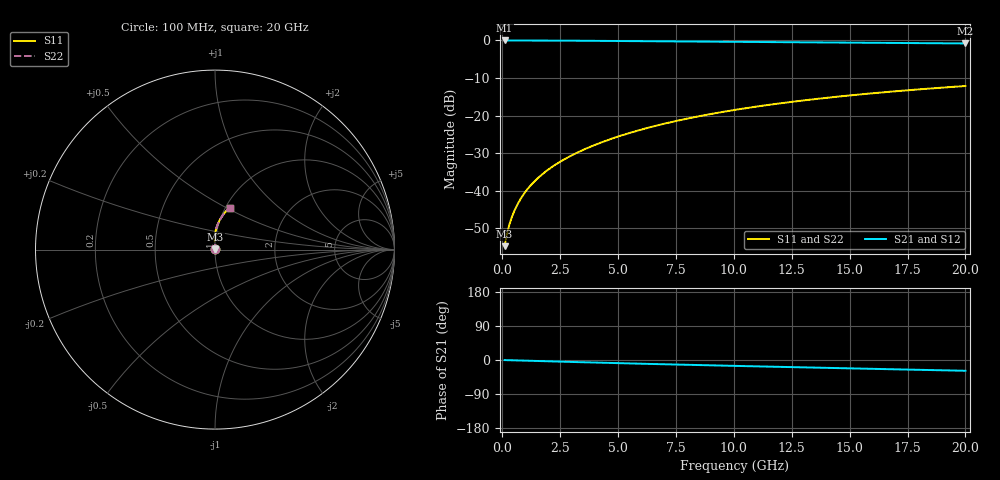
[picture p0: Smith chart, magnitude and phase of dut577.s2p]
! Touchstone file exported from HFSS 2024.1.0
!  File:  C:/UserFiles/LocalFiles/RDL_TSV_Batchsim/temp_RDL_bottom_577_1779690448.aedt
!  Generated:  02:30:00 PM May 25, 2026
!  Design:  RDL_bottom
!  Project:  temp_RDL_bottom_577_1779690448
!  Setup:  Setup1
!  Solution:  Sweep
! Variables:
!  dtsv = 10.80580581um
!  hbump = 3um
!  htsv = 51.32um
!  ldown = 420.38um
!  lrdl = 100um
!  p = 40
!  p1 = 49.43um
!  rhole = 1um
!  t = 450um
!  tdown = 4.43um
!  trdl = 3.915915916um
!  wdown = 26.52um
!  wrdl = 20um
# GHz S MA R 50.000000
! Terminal data exported
! Port[1] = RDL1_T1
! Port[2] = RDL1_T2
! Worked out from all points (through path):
!   200 points, 100 MHz to 20 GHz, reference 50 ohm
!   highest |S21| = -0.01 dB at 100 MHz (marker M1); lowest = -0.8 dB at 20 GHz (marker M2)
!   group delay of S21, straight-line fit = 3.88 ps
!   lowest |S11| = -54.7 dB at 100 MHz (marker M3), VSWR 1.00, Z = 50.1 + j0.11 ohm
!   |S11| at or under -10 dB: start of sweep to end of sweep
!   |S22| runs from -54.7 to -12.1 dB; largest |S21 - S12| = 3.2e-15
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0.1  0.00184 36.8  0.9985 -0.2  0.9985 -0.2  0.00184 36.8
! Gamma 0 0 0 0
! Port Impedance 50 0 50 0
0.2  0.002649 53.4  0.9984 -0.4  0.9984 -0.4  0.002649 53.4
0.3  0.003508 61.6  0.9982 -0.5  0.9982 -0.5  0.003509 61.6
0.4  0.004369 66.7  0.9981 -0.7  0.9981 -0.7  0.004369 66.7
0.5  0.005235 70.4  0.998 -0.9  0.998 -0.9  0.005236 70.4
0.6  0.006112 73.3  0.9978 -1.1  0.9978 -1.1  0.006113 73.3
0.8  0.007899 77.4  0.9976 -1.4  0.9976 -1.4  0.007899 77.4
1.1  0.01065 81.4  0.9971 -1.9  0.9971 -1.9  0.01065 81.3
1.3  0.01253 83.2  0.9967 -2.3  0.9967 -2.3  0.01253 83.2
1.6  0.0154 85.2  0.996 -2.8  0.996 -2.8  0.0154 85.2
2.1  0.02032 87.6  0.9947 -3.6  0.9947 -3.6  0.02032 87.5
2.7  0.02648 89.4  0.9926 -4.6  0.9926 -4.6  0.02648 89.3
3.5  0.03513 90.8  0.9894 -6.0  0.9894 -6.0  0.03513 90.8
4.2  0.04311 91.4  0.9862 -7.1  0.9862 -7.1  0.04311 91.4
5  0.05267 91.6  0.9822 -8.3  0.9822 -8.3  0.05267 91.6
6.8  0.07555 90.6  0.973 -11.0  0.973 -11.0  0.07553 90.6
8.4  0.09689 88.8  0.9649 -13.3  0.9649 -13.3  0.09687 88.8
10.1  0.12 86.4  0.9565 -15.6  0.9565 -15.6  0.12 86.4
11.7  0.1417 83.9  0.949 -17.8  0.949 -17.8  0.1417 83.9
13.4  0.1645 81.1  0.9411 -20.0  0.9411 -20.0  0.1645 81.1
16.7  0.2073 75.9  0.9262 -24.3  0.9262 -24.3  0.2073 75.9
20  0.2477 70.9  0.9113 -28.4  0.9113 -28.4  0.2476 70.9
